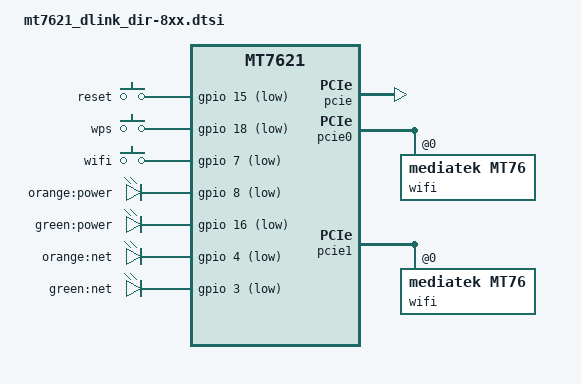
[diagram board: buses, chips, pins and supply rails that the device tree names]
// SPDX-License-Identifier: GPL-2.0-or-later OR MIT

#include "mt7621.dtsi"

#include <dt-bindings/gpio/gpio.h>
#include <dt-bindings/input/input.h>

/ {
	aliases {
		label-mac-device = &gmac0;
		led-boot = &led_power_orange;
		led-failsafe = &led_power_green;
		led-running = &led_power_green;
		led-upgrade = &led_net_orange;
	};

	keys {
		compatible = "gpio-keys";

		reset {
			label = "reset";
			gpios = <&gpio 15 GPIO_ACTIVE_LOW>;
			linux,code = <KEY_RESTART>;
		};

		wps {
			label = "wps";
			gpios = <&gpio 18 GPIO_ACTIVE_LOW>;
			linux,code = <KEY_WPS_BUTTON>;
		};

		wifi {
			label = "wifi";
			gpios = <&gpio 7 GPIO_ACTIVE_LOW>;
			linux,code = <KEY_RFKILL>;
		};
	};

	leds: leds {
		compatible = "gpio-leds";

		led_power_orange: power_orange {
			label = "orange:power";
			gpios = <&gpio 8 GPIO_ACTIVE_LOW>;
		};

		led_power_green: power_green {
			label = "green:power";
			gpios = <&gpio 16 GPIO_ACTIVE_LOW>;
		};

		led_net_orange: net_orange {
			label = "orange:net";
			gpios = <&gpio 4 GPIO_ACTIVE_LOW>;
		};

		net_green {
			label = "green:net";
			gpios = <&gpio 3 GPIO_ACTIVE_LOW>;
		};
	};
};

&pcie {
	status = "okay";
};

&pcie0 {
	wifi@0,0 {
		compatible = "mediatek,mt76";
		reg = <0x0000 0 0 0 0>;
		mediatek,mtd-eeprom = <&factory 0x0000>;
		ieee80211-freq-limit = <2400000 2500000>;

		led {
			led-active-low;
		};
	};
};

&pcie1 {
	wifi@0,0 {
		compatible = "mediatek,mt76";
		reg = <0x0000 0 0 0 0>;
		mediatek,mtd-eeprom = <&factory 0x8000>;
		ieee80211-freq-limit = <5000000 6000000>;

		led {
			led-active-low;
		};
	};
};

&gmac0 {
	mtd-mac-address = <&factory 0xe000>;
};

&switch0 {
	ports {
		port@0 {
			status = "okay";
			label = "lan4";
		};

		port@1 {
			status = "okay";
			label = "lan3";
		};

		port@2 {
			status = "okay";
			label = "lan2";
		};

		port@3 {
			status = "okay";
			label = "lan1";
		};

		port@4 {
			status = "okay";
			label = "wan";
			mtd-mac-address = <&factory 0xe006>;
		};
	};
};

&state_default {
	gpio {
		groups = "i2c", "uart3", "jtag", "wdt";
		function = "gpio";
	};
};
